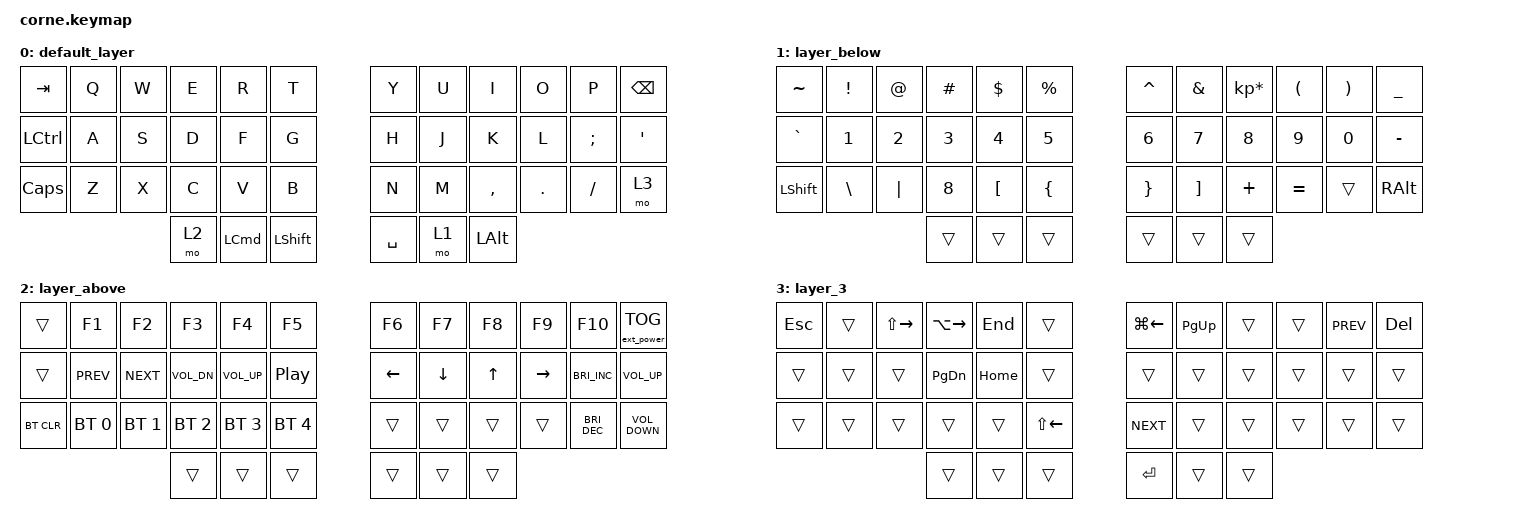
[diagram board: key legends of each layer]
/*
 * Copyright (c) 2020 The ZMK Contributors
 *
 * SPDX-License-Identifier: MIT
 */

#include <behaviors.dtsi>
#include <dt-bindings/zmk/bt.h>
#include <dt-bindings/zmk/ext_power.h>
#include <dt-bindings/zmk/keys.h>

/ {
    behaviors {
        tp: tap_preferred {
            compatible = "zmk,behavior-hold-tap";
            label = "TAP_PREFERRED";
            #binding-cells = <2>;
            tapping-term-ms = <150>;
            quick-tap-ms = <0>;
            flavor = "tap-preferred";
            bindings = <&kp>, <&kp>;
        };
    };

    keymap {
        compatible = "zmk,keymap";

        default_layer {
            // -----------------------------------------------------------------------------------------
            // | TAB  |  Q  |  W  |  E  |  R  |    T    |   |  Y  |  U   |  I  |  O  |  P  | ESC |
            // | CTRL |  A  |  S  |  D  |  F  |    G    |   |  H  |  J   |  K  |  L  |  ;  |  LWR/'   |
            // | SHFT |  Z  |  X  |  C  |  V  |    B    |   |  N  |  M   |  ,  |  .  |  /  | SHFT |
            //                    | GUI | LWR | ALT/ENT |   | HYPER/SPC | BKSP  | RSE |

            bindings = <
&kp TAB           &kp Q  &kp W  &kp E  &kp R             &kp T        &kp Y      &kp U  &kp I         &kp O    &kp P     &kp BACKSPACE
&kp LEFT_CONTROL  &kp A  &kp S  &kp D  &kp F             &kp G        &kp H      &kp J  &kp K         &kp L    &kp SEMI  &kp APOSTROPHE
&kp CAPSLOCK      &kp Z  &kp X  &kp C  &kp V             &kp B        &kp N      &kp M  &kp COMMA     &kp DOT  &kp FSLH  &mo 3
                                &mo 2  &kp LEFT_COMMAND  &kp LSHFT    &kp SPACE  &mo 1  &kp LEFT_ALT
            >;
        };

        layer_below {
            // -----------------------------------------------------------------------------------------
            // |      |  !  |  @  |  #  |  $  |    %     |   |  ^  |  &  |  *  |  (  |  )  |   \   |
            // |      |  1  |  2  |  3  |  4  |    5     |   |  -  |  =  |  `  |  [  |  ]  |  "|"  |
            // | SHFT |  6  |  7  |  8  |  9  |    0     |   |  _  |  +  |  ~  |  {  |  }  | RSHFT |
            //                     | GUI |     | ALT/ENT |   | HYPER/SPACE | BKSP |    |

            bindings = <
&kp TILDE  &kp EXCL  &kp AT    &kp HASH  &kp DLLR          &kp PRCNT         &kp CARET        &kp AMPS           &kp KP_MULTIPLY  &kp LPAR      &kp RPAR      &kp UNDER
&kp GRAVE  &kp N1    &kp N2    &kp N3    &kp N4            &kp N5            &kp NUMBER_6     &kp N7             &kp NUMBER_8     &kp NUMBER_9  &kp NUMBER_0  &kp MINUS
&kp LSHFT  &kp BSLH  &kp PIPE  &kp N8    &kp LEFT_BRACKET  &kp LEFT_BRACE    &kp RIGHT_BRACE  &kp RIGHT_BRACKET  &kp PLUS         &kp EQUAL     &trans        &kp RIGHT_ALT
                               &trans    &trans            &trans            &trans           &trans             &trans
            >;
        };

        layer_above {
            // -----------------------------------------------------------------------------------------
            // |       |  F1  |  F2  |  F3  |  F4  |  F5 |            |  F6  |  F7  |  F8  |  F9  |  F10  |   |
            // |       | Prev | Next | Vol - | Vol + | Play/Pause |   |      | LFT | DWN |  UP | RGT |     |     |
            // | BTCLR | BT1 | BT2 | BT3 | BT4 | BT5 |   |            |     |     |     |     |     |     |
            //                    |     |     |    |                  |     |     |     |

            bindings = <
&trans      &kp F1        &kp F2        &kp F3        &kp F4        &kp F5          &kp F6    &kp F7    &kp F8  &kp F9     &kp F10               &ext_power EP_TOG
&trans      &kp C_PREV    &kp C_NEXT    &kp C_VOL_DN  &kp C_VOL_UP  &kp C_PP        &kp LEFT  &kp DOWN  &kp UP  &kp RIGHT  &kp C_BRIGHTNESS_INC  &kp C_VOLUME_UP
&bt BT_CLR  &bt BT_SEL 0  &bt BT_SEL 1  &bt BT_SEL 2  &bt BT_SEL 3  &bt BT_SEL 4    &trans    &trans    &trans  &trans     &kp C_BRIGHTNESS_DEC  &kp C_VOLUME_DOWN
                                        &trans        &trans        &trans          &trans    &trans    &trans
            >;
        };

        layer_3 {
            bindings = <
&kp ESCAPE  &trans  &kp LS(RIGHT_ARROW)  &kp LA(RIGHT_ARROW)  &kp END   &trans                &kp LG(LEFT_ARROW)  &kp PAGE_UP  &trans  &trans  &kp K_PREV  &kp DELETE
&trans      &trans  &trans               &kp PAGE_DOWN        &kp HOME  &trans                &trans              &trans       &trans  &trans  &trans      &trans
&trans      &trans  &trans               &trans               &trans    &kp LS(LEFT_ARROW)    &kp K_NEXT          &trans       &trans  &trans  &trans      &trans
                                         &trans               &trans    &trans                &kp ENTER           &trans       &trans
            >;
        };
    };
};
